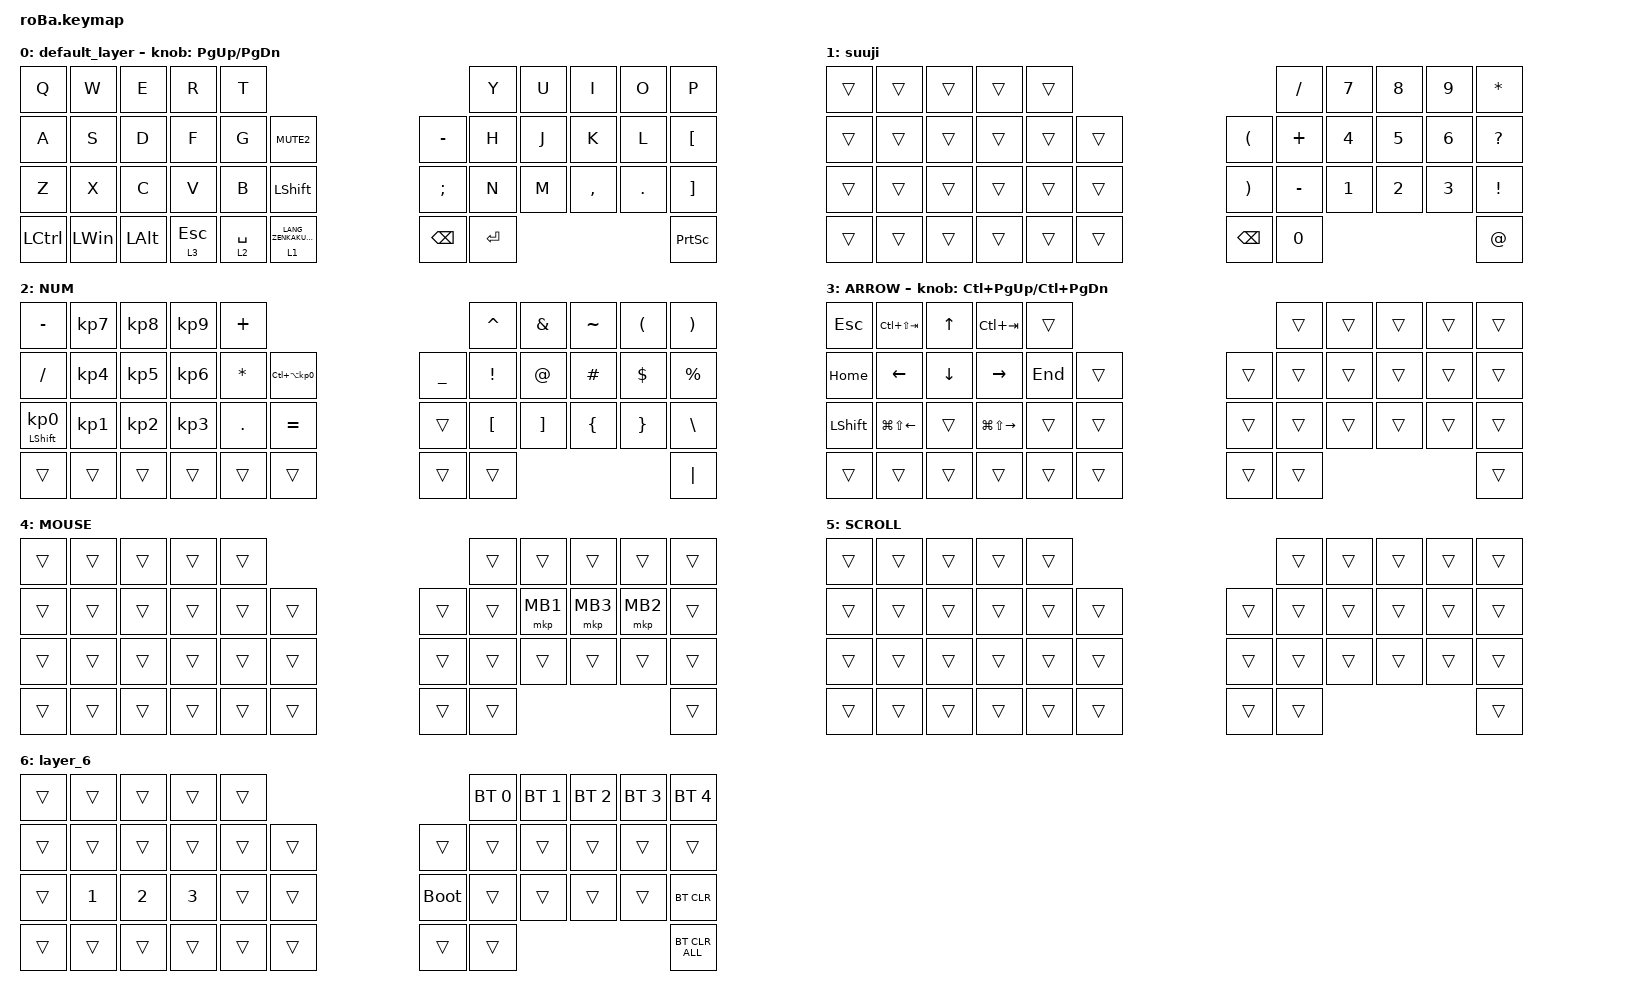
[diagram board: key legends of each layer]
#include <behaviors.dtsi>
#include <dt-bindings/zmk/bt.h>
#include <dt-bindings/zmk/keys.h>
#include <dt-bindings/zmk/pointing.h>

&mt {
    flavor = "balanced";
    quick-tap-ms = <0>;
};

&trackball {
    automouse-layer = <4>;
    scroll-layers = <5>;

    // arrows {
    //     layers = <3>;
    //     bindings =
    //         <&kp RIGHT_ARROW>,
    //         <&kp LEFT_ARROW>,
    //         <&kp UP_ARROW>,
    //         <&kp DOWN_ARROW>;
    //     tick = <10>;
    //     wait-ms = <5>;
    //     tap-ms = <5>;
    // };
};

/ {
    combos { compatible = "zmk,combos"; };

    macros {
        to_layer_0: to_layer_0 {
            compatible = "zmk,behavior-macro-one-param";
            #binding-cells = <1>;
            bindings = <&to 0 &macro_param_1to1 &kp MACRO_PLACEHOLDER>;
            label = "TO_LAYER_0";
        };
    };

    behaviors {
        lt_to_layer_0: lt_to_layer_0 {
            compatible = "zmk,behavior-hold-tap";
            label = "LAYER_TAP_TO_0";
            bindings = <&mo>, <&to_layer_0>;

            #binding-cells = <2>;
            tapping-term-ms = <200>;
        };
    };

    keymap {
        compatible = "zmk,keymap";

        default_layer {
            bindings = <
&kp Q      &kp W         &kp E         &kp R                    &kp T                                                                            &kp Y      &kp U  &kp I      &kp O    &kp P
&kp A      &kp S         &kp D         &kp F                    &kp G                   &kp K_MUTE2                               &kp MINUS      &kp H      &kp J  &kp K      &kp L    &kp LEFT_BRACKET
&kp Z      &kp X         &kp C         &kp V                    &kp B                   &kp LEFT_SHIFT                            &kp SEMICOLON  &kp N      &kp M  &kp COMMA  &kp DOT  &kp RIGHT_BRACKET
&kp LCTRL  &kp LEFT_WIN  &kp LEFT_ALT  &lt_to_layer_0 3 ESCAPE  &lt_to_layer_0 2 SPACE  &lt_to_layer_0 1 LANG_ZENKAKUHANKAKU      &kp BACKSPACE  &kp ENTER                             &kp PRINTSCREEN
            >;

            sensor-bindings = <&inc_dec_kp PG_UP PAGE_DOWN>;
        };

        suuji {
            bindings = <
&trans  &trans  &trans  &trans  &trans                                     &kp SLASH     &kp NUMBER_7  &kp NUMBER_8  &kp NUMBER_9  &kp ASTERISK
&trans  &trans  &trans  &trans  &trans  &trans      &kp LEFT_PARENTHESIS   &kp PLUS      &kp NUMBER_4  &kp NUMBER_5  &kp NUMBER_6  &kp QUESTION
&trans  &trans  &trans  &trans  &trans  &trans      &kp RIGHT_PARENTHESIS  &kp MINUS     &kp NUMBER_1  &kp NUMBER_2  &kp NUMBER_3  &kp EXCLAMATION
&trans  &trans  &trans  &trans  &trans  &trans      &kp BACKSPACE          &kp NUMBER_0                                            &kp AT_SIGN
            >;
        };

        NUM {
            bindings = <
&kp MINUS                   &kp KP_NUMBER_7  &kp KP_NUMBER_8  &kp KP_NUMBER_9  &kp PLUS                                                   &kp CARET         &kp AMPERSAND      &kp TILDE       &kp LEFT_PARENTHESIS  &kp RIGHT_PARENTHESIS
&kp SLASH                   &kp KP_NUMBER_4  &kp KP_NUMBER_5  &kp KP_NUMBER_6  &kp ASTERISK  &kp LC(LA(KP_NUMBER_0))      &kp UNDERSCORE  &kp EXCLAMATION   &kp AT_SIGN        &kp HASH        &kp DOLLAR            &kp PERCENT
&mt LEFT_SHIFT KP_NUMBER_0  &kp KP_NUMBER_1  &kp KP_NUMBER_2  &kp KP_NUMBER_3  &kp PERIOD    &kp EQUAL                    &trans          &kp LEFT_BRACKET  &kp RIGHT_BRACKET  &kp LEFT_BRACE  &kp RIGHT_BRACE       &kp BACKSLASH
&trans                      &trans           &trans           &trans           &trans        &trans                       &trans          &trans                                                                     &kp PIPE
            >;
        };

        ARROW {
            bindings = <
&kp ESCAPE      &kp LC(LS(TAB))         &kp UP_ARROW    &kp LC(TAB)              &trans                       &trans  &trans  &trans  &trans  &trans
&kp HOME        &kp LEFT_ARROW          &kp DOWN_ARROW  &kp RIGHT_ARROW          &kp END  &trans      &trans  &trans  &trans  &trans  &trans  &trans
&kp LEFT_SHIFT  &kp LG(LS(LEFT_ARROW))  &trans          &kp LG(LS(RIGHT_ARROW))  &trans   &trans      &trans  &trans  &trans  &trans  &trans  &trans
&trans          &trans                  &trans          &trans                   &trans   &trans      &trans  &trans                          &trans
            >;

            sensor-bindings = <&inc_dec_kp LC(PAGE_UP) LC(PAGE_DOWN)>;
        };

        MOUSE {
            bindings = <
&trans  &trans  &trans  &trans  &trans                      &trans  &trans    &trans    &trans    &trans
&trans  &trans  &trans  &trans  &trans  &trans      &trans  &trans  &mkp MB1  &mkp MB3  &mkp MB2  &trans
&trans  &trans  &trans  &trans  &trans  &trans      &trans  &trans  &trans    &trans    &trans    &trans
&trans  &trans  &trans  &trans  &trans  &trans      &trans  &trans                                &trans
            >;
        };

        SCROLL {
            bindings = <
&trans  &trans  &trans  &trans  &trans                      &trans  &trans  &trans  &trans  &trans
&trans  &trans  &trans  &trans  &trans  &trans      &trans  &trans  &trans  &trans  &trans  &trans
&trans  &trans  &trans  &trans  &trans  &trans      &trans  &trans  &trans  &trans  &trans  &trans
&trans  &trans  &trans  &trans  &trans  &trans      &trans  &trans                          &trans
            >;
        };

        layer_6 {
            bindings = <
&trans  &trans        &trans        &trans        &trans                           &bt BT_SEL 0  &bt BT_SEL 1  &bt BT_SEL 2  &bt BT_SEL 3  &bt BT_SEL 4
&trans  &trans        &trans        &trans        &trans  &trans      &trans       &trans        &trans        &trans        &trans        &trans
&trans  &kp NUMBER_1  &kp NUMBER_2  &kp NUMBER_3  &trans  &trans      &bootloader  &trans        &trans        &trans        &trans        &bt BT_CLR
&trans  &trans        &trans        &trans        &trans  &trans      &trans       &trans                                                  &bt BT_CLR_ALL
            >;
        };
    };
};
